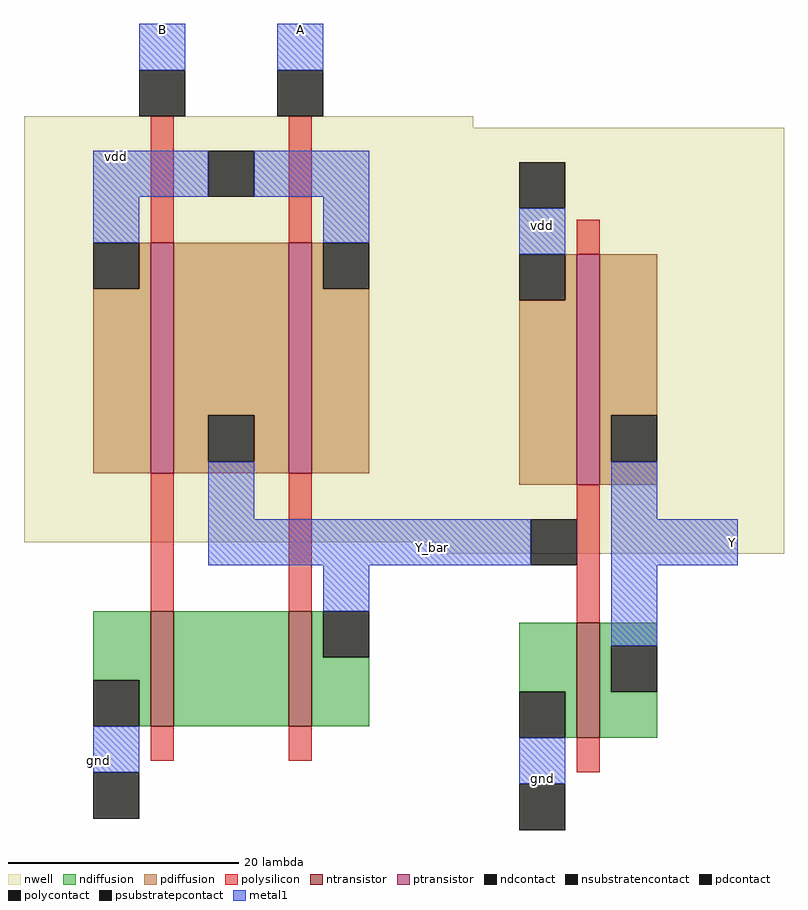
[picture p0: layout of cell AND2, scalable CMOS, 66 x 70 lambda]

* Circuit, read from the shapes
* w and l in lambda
.subckt AND2 A B Y Y_bar gnd vdd
M1 n1 B gnd gnd nfet w=10 l=2
M2 Y_bar A n1 gnd nfet w=10 l=2
M3 Y Y_bar gnd gnd nfet w=10 l=2
M4 Y_bar B vdd vdd pfet w=20 l=2
M5 vdd A Y_bar vdd pfet w=20 l=2
M6 Y Y_bar vdd vdd pfet w=20 l=2
.ends

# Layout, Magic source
magic
tech scmos
<< nwell >>
rect -20 30 19 31
rect -20 -6 46 30
rect 16 -7 46 -6
<< ntransistor >>
rect -9 -22 -7 -12
rect 3 -22 5 -12
rect 28 -23 30 -13
<< ptransistor >>
rect -9 0 -7 20
rect 3 0 5 20
rect 28 -1 30 19
<< ndiffusion >>
rect -14 -18 -9 -12
rect -10 -22 -9 -18
rect -7 -22 3 -12
rect 5 -16 6 -12
rect 5 -22 10 -16
rect 23 -19 28 -13
rect 27 -23 28 -19
rect 30 -15 35 -13
rect 30 -19 31 -15
rect 30 -23 35 -19
<< pdiffusion >>
rect -10 16 -9 20
rect -14 0 -9 16
rect -7 5 3 20
rect -7 1 -4 5
rect 0 1 3 5
rect -7 0 3 1
rect 5 16 6 20
rect 5 0 10 16
rect 27 15 28 19
rect 23 -1 28 15
rect 30 5 35 19
rect 30 1 31 5
rect 30 -1 35 1
<< ndcontact >>
rect -14 -22 -10 -18
rect 6 -16 10 -12
rect 23 -23 27 -19
rect 31 -19 35 -15
<< pdcontact >>
rect -14 16 -10 20
rect -4 1 0 5
rect 6 16 10 20
rect 23 15 27 19
rect 31 1 35 5
<< psubstratepcontact >>
rect -14 -30 -10 -26
rect 23 -31 27 -27
<< nsubstratencontact >>
rect -4 24 0 28
rect 23 23 27 27
<< polysilicon >>
rect -9 20 -7 31
rect 3 20 5 31
rect 28 19 30 22
rect -9 -12 -7 0
rect 3 -12 5 0
rect 28 -13 30 -1
rect -9 -25 -7 -22
rect 3 -25 5 -22
rect 28 -26 30 -23
<< polycontact >>
rect -10 31 -6 35
rect 2 31 6 35
rect 24 -8 28 -4
<< metal1 >>
rect -10 35 -6 39
rect 2 35 6 39
rect -14 24 -4 28
rect 0 24 10 28
rect -14 20 -10 24
rect 6 20 10 24
rect 23 19 27 23
rect -4 -4 0 1
rect 31 -4 35 1
rect -4 -8 24 -4
rect 31 -8 42 -4
rect 6 -12 10 -8
rect 31 -15 35 -8
rect -14 -26 -10 -22
rect 23 -27 27 -23
<< labels >>
rlabel metal1 -14 -26 -13 -24 2 gnd
rlabel metal1 -14 27 -10 28 5 vdd
rlabel metal1 -9 38 -7 39 5 B
rlabel metal1 3 38 5 39 5 A
rlabel metal1 23 21 27 22 1 vdd
rlabel metal1 23 -27 27 -26 1 gnd
rlabel metal1 13 -7 18 -6 1 Y_bar
rlabel metal1 41 -7 42 -5 7 Y
<< end >>
